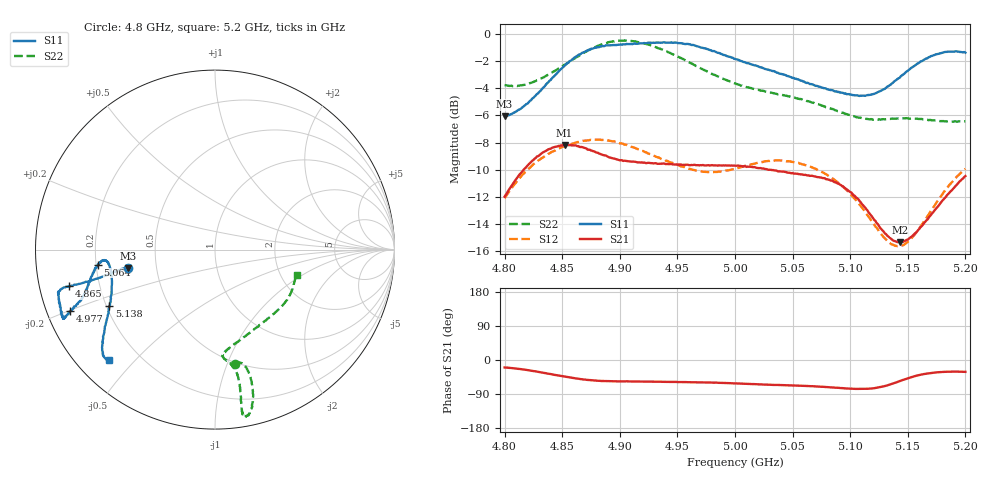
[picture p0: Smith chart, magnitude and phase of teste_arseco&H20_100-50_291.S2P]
! Network Analyzer HP8722D
! Hewlett-Packard
! Data name: Linha & Wilkinson
! Saver's name: Rodrigo Anjos
! Comments: Teste da utilização de aquisição
! continua pelo VNA HP8722D
! Time and date: 6/5/2025 14:59
!  Frequency  S11  S21  S12  S22
# HZ  S  MA R 50
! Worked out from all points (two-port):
!   401 points, 4.8 GHz to 5.2 GHz, reference 50 ohm
!   highest |S21| = -8.17 dB at 4.852 GHz (marker M1); lowest = -15.3 dB at 5.143 GHz (marker M2)
!   |S21| within 3 dB of the highest: 4.806 GHz to 5.093 GHz (286.6 MHz wide, 5.79 % of centre); 5.191798 GHz to end of sweep
!   lowest |S11| = -6.1 dB at 4.8 GHz (marker M3), VSWR 2.97, Z = 17 - j4.58 ohm
!   |S11| at or under -10 dB: nowhere
!   |S22| runs from -6.5 to -0.5 dB; largest |S21 - S12| = 0.62
!   S11 on the Smith chart (normalised r, x): 4.8 GHz: 0.34, -0.09; 4.865 GHz: 0.09, -0.12; 4.977 GHz: 0.07, -0.20; 5.064 GHz: 0.21, -0.06; 5.138 GHz: 0.21, -0.24; 5.2 GHz: 0.09, -0.43
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4.8e9  0.4967 -168.2  0.2519 -19.7  0.2488 -140.8  0.6478 -80.3
4.825e9  0.5818 -167.4  0.3439 -29.1  0.3317 -144.2  0.6655 -75.7
4.852e9  0.7633 -165.8  0.3905 -43.8  0.3857 -149.4  0.7698 -74.5
4.865e9  0.8401 -166.0  0.384 -49.9  0.4015 -151.7  0.8324 -75.2
4.867e9  0.8496 -165.9  0.3837 -50.8  0.4032 -152.0  0.8433 -75.4
4.899e9  0.9118 -162.8  0.3438 -56.4  0.3981 -156.7  0.9432 -79.0
4.934e9  0.9288 -156.4  0.3328 -57.5  0.3508 -155.5  0.8833 -80.5
4.953e9  0.9239 -155.5  0.3308 -58.0  0.3258 -152.1  0.8149 -79.8
4.977e9  0.8759 -157.0  0.3289 -59.5  0.3102 -144.5  0.7231 -79.7
5e9  0.8081 -159.0  0.3276 -61.9  0.3197 -137.2  0.6566 -81.3
5.04e9  0.7122 -166.6  0.3119 -66.2  0.3421 -134.5  0.5972 -85.9
5.064e9  0.6577 -172.7  0.3018 -68.8  0.3266 -136.5  0.5649 -83.3
5.067e9  0.6524 -173.1  0.3008 -69.1  0.3229 -136.7  0.5583 -82.6
5.084e9  0.6211 -174.6  0.2889 -72.4  0.2958 -138.4  0.5295 -76.3
5.102e9  0.5952 -171.8  0.2578 -75.9  0.2533 -138.7  0.4988 -65.9
5.117e9  0.5962 -164.6  0.2179 -75.5  0.2098 -135.1  0.4848 -55.2
5.134e9  0.646 -154.2  0.1785 -65.1  0.1706 -120.8  0.4866 -43.2
5.138e9  0.6677 -152.0  0.1734 -61.1  0.167 -115.5  0.4876 -40.9
5.143e9  0.689 -149.3  0.1712 -55.7  0.1658 -108.9  0.4884 -37.9
5.155e9  0.7592 -144.1  0.1827 -43.5  0.1807 -94.0  0.4878 -31.9
5.172e9  0.8329 -139.1  0.2207 -33.5  0.2298 -81.2  0.4808 -24.6
5.2e9  0.8524 -133.6  0.3 -31.3  0.3191 -76.9  0.4774 -17.5
